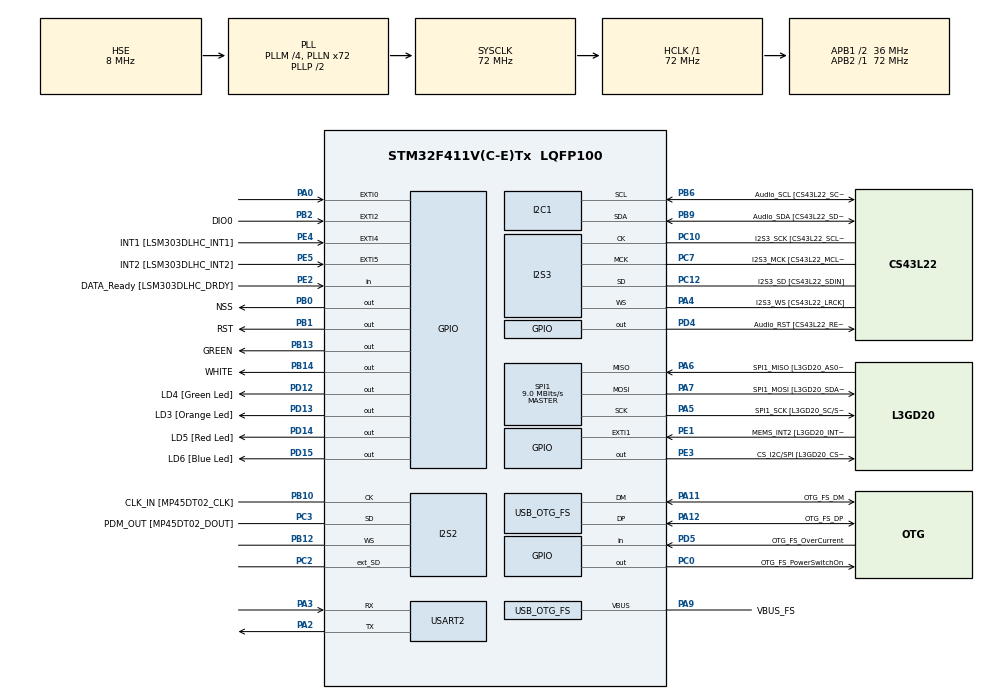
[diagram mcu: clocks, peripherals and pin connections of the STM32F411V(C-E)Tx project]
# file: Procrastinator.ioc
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I2S2.AudioFreq=I2S_AUDIOFREQ_96K
I2S2.ErrorAudioFreq=0.15 %
I2S2.FullDuplexMode=I2S_FULLDUPLEXMODE_ENABLE
I2S2.Instance=SPI$Index
I2S2.RealAudioFreq=96.153 KHz
I2S2.VirtualMode=I2S_MODE_MASTER
I2S3.AudioFreq=I2S_AUDIOFREQ_96K
I2S3.ErrorAudioFreq=-6.99 %
I2S3.FullDuplexMode=I2S_FULLDUPLEXMODE_DISABLE
I2S3.Instance=SPI$Index
I2S3.RealAudioFreq=89.285 KHz
I2S3.VirtualMode=I2S_MODE_MASTER
Mcu.Family=STM32F4
Mcu.Name=STM32F411V(C-E)Tx
Mcu.Package=LQFP100
NVIC.OTG_FS_IRQn=true\:0\:0\:false\:false\:true\:true\:true\:true
NVIC.PriorityGroup=NVIC_PRIORITYGROUP_0
PA0-WKUP.GPIO_ModeDefaultEXTI=GPIO_MODE_EVT_RISING
PA0-WKUP.Signal=GPXTI0
PA10.GPIO_Label=OTG_FS_ID
PA10.Signal=USB_OTG_FS_ID
PA11.GPIO_Label=OTG_FS_DM
PA11.Mode=Host_Only
PA11.Signal=USB_OTG_FS_DM
PA12.GPIO_Label=OTG_FS_DP
PA12.Mode=Host_Only
PA12.Signal=USB_OTG_FS_DP
PA13.GPIO_Label=SWDIO
PA13.Mode=Serial_Wire
PA13.Signal=SYS_JTMS-SWDIO
PA14.GPIO_Label=SWCLK
PA14.Mode=Serial_Wire
PA14.Signal=SYS_JTCK-SWCLK
PA2.Mode=Asynchronous
PA2.Signal=USART2_TX
PA3.Mode=Asynchronous
PA3.Signal=USART2_RX
PA4.GPIO_Label=I2S3_WS [CS43L22_LRCK]
PA4.GPIO_Mode=GPIO_MODE_AF_PP
PA4.GPIO_PuPd=GPIO_NOPULL
PA4.GPIO_Speed=GPIO_SPEED_FREQ_LOW
PA4.Mode=Half_Duplex_Master
PA4.Signal=I2S3_WS
PA5.GPIO_Label=SPI1_SCK [L3GD20_SC/SPC]
PA5.Mode=Full_Duplex_Master
PA5.Signal=SPI1_SCK
PA6.GPIO_Label=SPI1_MISO [L3GD20_AS0/SDO]
PA6.Mode=Full_Duplex_Master
PA6.Signal=SPI1_MISO
PA7.GPIO_Label=SPI1_MOSI [L3GD20_SDA/SDI/SDO]
PA7.Mode=Full_Duplex_Master
PA7.Signal=SPI1_MOSI
PA9.GPIO_Label=VBUS_FS
PA9.Mode=Activate_VBUS
PA9.Signal=USB_OTG_FS_VBUS
PB0.GPIO_Label=NSS
PB0.PinState=GPIO_PIN_SET
PB0.Signal=GPIO_Output
PB1.GPIO_Label=RST
PB1.PinState=GPIO_PIN_SET
PB1.Signal=GPIO_Output
PB10.GPIO_Label=CLK_IN [MP45DT02_CLK]
PB10.Mode=Full_Duplex_Master
PB10.Signal=I2S2_CK
PB12.Mode=Full_Duplex_Master
PB12.Signal=I2S2_WS
PB13.GPIO_Label=GREEN
PB13.Signal=GPIO_Output
PB14.GPIO_Label=WHITE
PB14.Signal=GPIO_Output
PB2.GPIO_Label=DIO0
PB2.Signal=GPXTI2
PB3.GPIO_Label=SWO
PB3.Signal=SYS_JTDO-SWO
PB6.GPIO_Label=Audio_SCL [CS43L22_SCL]
PB6.GPIO_Mode=GPIO_MODE_AF_OD
PB6.GPIO_Pu=GPIO_PULLUP
PB6.GPIO_PuPd=GPIO_NOPULL
PB6.GPIO_Speed=GPIO_SPEED_FREQ_LOW
PB6.Mode=I2C
PB6.Signal=I2C1_SCL
PB9.GPIO_Label=Audio_SDA [CS43L22_SDA]
PB9.GPIO_Mode=GPIO_MODE_AF_OD
PB9.GPIO_Pu=GPIO_PULLUP
PB9.GPIO_PuPd=GPIO_NOPULL
PB9.GPIO_Speed=GPIO_SPEED_FREQ_LOW
PB9.Mode=I2C
PB9.Signal=I2C1_SDA
PC0.GPIO_Label=OTG_FS_PowerSwitchOn
PC0.PinState=GPIO_PIN_SET
PC0.Signal=GPIO_Output
PC10.GPIO_Label=I2S3_SCK [CS43L22_SCLK]
PC10.GPIO_Mode=GPIO_MODE_AF_PP
PC10.GPIO_PuPd=GPIO_NOPULL
PC10.GPIO_Speed=GPIO_SPEED_FREQ_LOW
PC10.Mode=Half_Duplex_Master
PC10.Signal=I2S3_CK
PC12.GPIO_Label=I2S3_SD [CS43L22_SDIN]
PC12.GPIO_Mode=GPIO_MODE_AF_PP
PC12.GPIO_PuPd=GPIO_NOPULL
PC12.GPIO_Speed=GPIO_SPEED_FREQ_LOW
PC12.Mode=Half_Duplex_Master
PC12.Signal=I2S3_SD
PC14-OSC32_IN.GPIO_Label=PC14-OSC32_IN
PC14-OSC32_IN.Mode=LSE-External-Oscillator
PC14-OSC32_IN.Signal=RCC_OSC32_IN
PC15-OSC32_OUT.GPIO_Label=PC15-OSC32_OUT
PC15-OSC32_OUT.Mode=LSE-External-Oscillator
PC15-OSC32_OUT.Signal=RCC_OSC32_OUT
PC2.Mode=Full_Duplex_Master
PC2.Signal=I2S2_ext_SD
PC3.GPIO_Label=PDM_OUT [MP45DT02_DOUT]
PC3.Mode=Full_Duplex_Master
PC3.Signal=I2S2_SD
PC7.GPIO_Label=I2S3_MCK [CS43L22_MCLK]
PC7.GPIO_Mode=GPIO_MODE_AF_PP
PC7.GPIO_PuPd=GPIO_NOPULL
PC7.GPIO_Speed=GPIO_SPEED_FREQ_LOW
PC7.Mode=Master_Clock_Activated
PC7.Signal=I2S3_MCK
PD12.GPIO_Label=LD4 [Green Led]
PD12.GPIO_PuPd=GPIO_NOPULL
PD12.GPIO_Speed=GPIO_SPEED_FREQ_LOW
PD12.Signal=GPIO_Output
PD13.GPIO_Label=LD3 [Orange Led]
PD13.GPIO_PuPd=GPIO_NOPULL
PD13.GPIO_Speed=GPIO_SPEED_FREQ_LOW
PD13.Signal=GPIO_Output
PD14.GPIO_Label=LD5 [Red Led]
PD14.GPIO_PuPd=GPIO_NOPULL
PD14.GPIO_Speed=GPIO_SPEED_FREQ_LOW
PD14.Signal=GPIO_Output
PD15.GPIO_Label=LD6 [Blue Led]
PD15.GPIO_PuPd=GPIO_NOPULL
PD15.GPIO_Speed=GPIO_SPEED_FREQ_LOW
PD15.Signal=GPIO_Output
PD4.GPIO_Label=Audio_RST [CS43L22_RESET]
PD4.Signal=GPIO_Output
PD5.GPIO_Label=OTG_FS_OverCurrent
PD5.Signal=GPIO_Input
PE1.GPIO_Label=MEMS_INT2 [L3GD20_INT2]
PE1.GPIO_ModeDefaultEXTI=GPIO_MODE_EVT_RISING
PE1.Signal=GPXTI1
PE2.GPIO_Label=DATA_Ready [LSM303DLHC_DRDY]
PE2.Signal=GPIO_Input
PE3.GPIO_Label=CS_I2C/SPI [L3GD20_CS_I2C/SPI]
PE3.Signal=GPIO_Output
PE4.GPIO_Label=INT1 [LSM303DLHC_INT1]
PE4.GPIO_ModeDefaultEXTI=GPIO_MODE_EVT_RISING
PE4.Signal=GPXTI4
PE5.GPIO_Label=INT2 [LSM303DLHC_INT2]
PE5.GPIO_ModeDefaultEXTI=GPIO_MODE_EVT_RISING
PE5.Signal=GPXTI5
PH0\ -\ OSC_IN.GPIO_Label=PH0-OSC_IN
PH0\ -\ OSC_IN.Mode=HSE-External-Oscillator
PH0\ -\ OSC_IN.Signal=RCC_OSC_IN
PH1\ -\ OSC_OUT.GPIO_Label=PH1-OSC_OUT
PH1\ -\ OSC_OUT.Mode=HSE-External-Oscillator
PH1\ -\ OSC_OUT.Signal=RCC_OSC_OUT
ProjectManager.HeapSize=0x200
ProjectManager.StackSize=0x400
ProjectManager.TargetToolchain=STM32CubeIDE
RCC.48MHZClocksFreq_Value=48000000
RCC.AHBFreq_Value=72000000
RCC.APB1CLKDivider=RCC_HCLK_DIV2
RCC.APB1Freq_Value=36000000
RCC.APB1TimFreq_Value=72000000
RCC.APB2Freq_Value=72000000
RCC.APB2TimFreq_Value=72000000
RCC.CortexFreq_Value=72000000
RCC.HCLKFreq_Value=72000000
RCC.HSE_VALUE=8000000
RCC.HSI_VALUE=16000000
RCC.PLLI2SM=5
RCC.PLLI2SN=200
RCC.PLLM=4
RCC.PLLN=72
RCC.PLLQ=3
RCC.SYSCLKFreq_VALUE=72000000
RCC.SYSCLKSource=RCC_SYSCLKSOURCE_PLLCLK
RCC.VCOOutputFreq_Value=144000000
SPI1.BaudRatePrescaler=SPI_BAUDRATEPRESCALER_8
SPI1.CalculateBaudRate=9.0 MBits/s
SPI1.Direction=SPI_DIRECTION_2LINES
SPI1.Mode=SPI_MODE_MASTER
SPI1.VirtualType=VM_MASTER
USART2.VirtualMode=VM_ASYNC
USB_HOST.BSP.number=1
USB_HOST.USBH_HandleTypeDef=hUsbHostFS
USB_HOST.VirtualModeFS=Cdc
USB_HOST0.BSP.STBoard=false
USB_HOST0.BSP.api=Unknown
USB_HOST0.BSP.instance=PC0
USB_HOST0.BSP.ip=GPIO
USB_HOST0.BSP.mode=Output
USB_HOST0.BSP.name=Drive_VBUS_FS
USB_HOST0.BSP.solution=PC0
USB_OTG_FS.VirtualMode=Host_Only
USB_OTG_FS.phy_itface=HCD_PHY_EMBEDDED
VP_USB_HOST_VS_USB_HOST_CDC_FS.Mode=CDC_FS
board=STM32F411E-DISCO

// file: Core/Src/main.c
/* USER CODE BEGIN Header */
/**
  ******************************************************************************
  * @file           : main.c
  * @brief          : Main program body
  ******************************************************************************
  * @attention
  *
  * Copyright (c) 2022 STMicroelectronics.
  * All rights reserved.
  *
  * This software is licensed under terms that can be found in the LICENSE file
  * in the root directory of this software component.
  * If no LICENSE file comes with this software, it is provided AS-IS.
  *
  ******************************************************************************
  */
/* USER CODE END Header */
#include "main.h"
#include "i2c.h"
#include "i2s.h"
#include "spi.h"
#include "usart.h"
#include "usb_host.h"
#include "gpio.h"

/* USER CODE BEGIN Includes */
#include "BME280_STM32.h"
#include "LoRa.h"
#include "stdio.h"
#include "string.h"
char buffer[32] = {0};
uint8_t count=0;
/* USER CODE END Includes */

/* USER CODE BEGIN PV */
void uprintf(char *str){
	if (HAL_UART_Transmit(&huart2, (uint8_t *) str, strlen(str), 100) != HAL_OK){
	    	Error_Handler();
	    }
}
LoRa myLoRa;
/* USER CODE END PV */

void SystemClock_Config(void);
void PeriphCommonClock_Config(void);
void MX_USB_HOST_Process(void);

/* USER CODE BEGIN 0 */
float Temperature, Pressure, Humidity;
/* USER CODE END 0 */

int main(void)
{

  /* MCU Configuration--------------------------------------------------------*/

  /* Reset of all peripherals, Initializes the Flash interface and the Systick. */
  HAL_Init();

  /* Configure the system clock */
  SystemClock_Config();

/* Configure the peripherals common clocks */
  PeriphCommonClock_Config();

  /* Initialize all configured peripherals */
  MX_GPIO_Init();
  MX_I2C1_Init();
  MX_I2S2_Init();
  MX_I2S3_Init();
  MX_SPI1_Init();
  MX_USB_HOST_Init();
  MX_USART2_UART_Init();
  /* USER CODE BEGIN 2 */
  BME280_Config(OSRS_2, OSRS_16, OSRS_1, MODE_NORMAL, T_SB_0p5, IIR_16);
  if(HAL_I2C_IsDeviceReady(&hi2c1, 0xEC, 2, 10)==HAL_OK){
 	  HAL_GPIO_WritePin(GPIOD, GPIO_PIN_12, GPIO_PIN_SET);
   }

//  uint16_t readvalue;
//    HAL_ADC_Start(&hadc1);
    myLoRa = newLoRa();
    LoRa_reset(&myLoRa);
    myLoRa.CS_port         = NSS_GPIO_Port;
    myLoRa.CS_pin          = NSS_Pin;
    myLoRa.reset_port      = RST_GPIO_Port;
    myLoRa.reset_pin       = RST_Pin;
    myLoRa.DIO0_port       = DIO0_GPIO_Port;
    myLoRa.DIO0_pin        = DIO0_Pin;
    myLoRa.hSPIx           = &hspi1;

    myLoRa.frequency             = 440;             // default = 433 MHz
    myLoRa.spredingFactor        = SF_7;            // default = SF_7
    myLoRa.bandWidth             = BW_31_25KHz;       // default = BW_125KHz
    myLoRa.crcRate               = CR_4_5;          // default = CR_4_5
    myLoRa.power                 = POWER_20db;      // default = 20db
    myLoRa.overCurrentProtection = 130;             // default = 100 mA
    myLoRa.preamble              = 9;              // default = 8;

    if (LoRa_init(&myLoRa) == LORA_OK){
  	  HAL_GPIO_WritePin(GPIOB, GPIO_PIN_13, GPIO_PIN_SET);
    }

  /* USER CODE END 2 */

  /* Infinite loop */
  while (1)
  {
    MX_USB_HOST_Process();

    /* USER CODE BEGIN 3 */
	  if (LoRa_init(&myLoRa) == LORA_OK){
	    	  HAL_GPIO_WritePin(GPIOB, GPIO_PIN_13, GPIO_PIN_SET);
	      }
	  else{
		  HAL_GPIO_WritePin(GPIOB, GPIO_PIN_13, GPIO_PIN_RESET);
	  }
    BME280_Measure();
    sprintf(buffer, "T: %.2f P: %.2f H: %.2f\n\r", Temperature, Pressure, Humidity);
//    uprintf(buffer);
	if(LoRa_transmit(&myLoRa, (uint8_t*)buffer, strlen(buffer), 100) == 1){
	  HAL_GPIO_WritePin(GPIOB, GPIO_PIN_14, GPIO_PIN_SET);
	}
	else {
		 HAL_GPIO_WritePin(GPIOB, GPIO_PIN_14, GPIO_PIN_RESET);
	}
	LoRa_transmit(&myLoRa, (uint8_t*)buffer, strlen(buffer), 100);
	HAL_Delay(200);
  }
  /* USER CODE END 3 */
}

void SystemClock_Config(void)
{
  RCC_OscInitTypeDef RCC_OscInitStruct = {0};
  RCC_ClkInitTypeDef RCC_ClkInitStruct = {0};

  /** Configure the main internal regulator output voltage
  */
  __HAL_RCC_PWR_CLK_ENABLE();
  __HAL_PWR_VOLTAGESCALING_CONFIG(PWR_REGULATOR_VOLTAGE_SCALE1);

  /** Initializes the RCC Oscillators according to the specified parameters
  * in the RCC_OscInitTypeDef structure.
  */
  RCC_OscInitStruct.OscillatorType = RCC_OSCILLATORTYPE_HSE;
  RCC_OscInitStruct.HSEState = RCC_HSE_ON;
  RCC_OscInitStruct.PLL.PLLState = RCC_PLL_ON;
  RCC_OscInitStruct.PLL.PLLSource = RCC_PLLSOURCE_HSE;
  RCC_OscInitStruct.PLL.PLLM = 4;
  RCC_OscInitStruct.PLL.PLLN = 72;
  RCC_OscInitStruct.PLL.PLLP = RCC_PLLP_DIV2;
  RCC_OscInitStruct.PLL.PLLQ = 3;
  if (HAL_RCC_OscConfig(&RCC_OscInitStruct) != HAL_OK)
  {
    Error_Handler();
  }

  /** Initializes the CPU, AHB and APB buses clocks
  */
  RCC_ClkInitStruct.ClockType = RCC_CLOCKTYPE_HCLK|RCC_CLOCKTYPE_SYSCLK
                              |RCC_CLOCKTYPE_PCLK1|RCC_CLOCKTYPE_PCLK2;
  RCC_ClkInitStruct.SYSCLKSource = RCC_SYSCLKSOURCE_PLLCLK;
  RCC_ClkInitStruct.AHBCLKDivider = RCC_SYSCLK_DIV1;
  RCC_ClkInitStruct.APB1CLKDivider = RCC_HCLK_DIV2;
  RCC_ClkInitStruct.APB2CLKDivider = RCC_HCLK_DIV1;

  if (HAL_RCC_ClockConfig(&RCC_ClkInitStruct, FLASH_LATENCY_2) != HAL_OK)
  {
    Error_Handler();
  }
}

void PeriphCommonClock_Config(void)
{
  RCC_PeriphCLKInitTypeDef PeriphClkInitStruct = {0};

  /** Initializes the peripherals clock
  */
  PeriphClkInitStruct.PeriphClockSelection = RCC_PERIPHCLK_I2S;
  PeriphClkInitStruct.PLLI2S.PLLI2SN = 200;
  PeriphClkInitStruct.PLLI2S.PLLI2SM = 5;
  PeriphClkInitStruct.PLLI2S.PLLI2SR = 2;
  if (HAL_RCCEx_PeriphCLKConfig(&PeriphClkInitStruct) != HAL_OK)
  {
    Error_Handler();
  }
}

void Error_Handler(void)
{
  __disable_irq();
  while (1)
  {
  }
}
